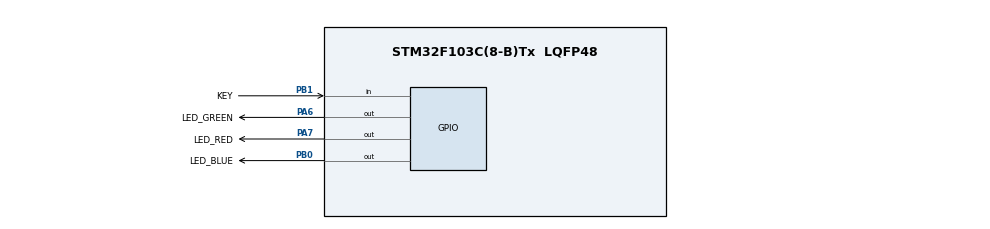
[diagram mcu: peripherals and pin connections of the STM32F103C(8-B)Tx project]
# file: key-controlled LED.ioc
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Mcu.Family=STM32F1
Mcu.Name=STM32F103C(8-B)Tx
Mcu.Package=LQFP48
NVIC.PriorityGroup=NVIC_PRIORITYGROUP_4
PA13.Mode=Serial_Wire
PA13.Signal=SYS_JTMS-SWDIO
PA14.Mode=Serial_Wire
PA14.Signal=SYS_JTCK-SWCLK
PA6.GPIO_Label=LED_GREEN
PA6.Signal=GPIO_Output
PA7.GPIO_Label=LED_RED
PA7.Signal=GPIO_Output
PB0.GPIO_Label=LED_BLUE
PB0.Signal=GPIO_Output
PB1.GPIO_Label=KEY
PB1.GPIO_PuPd=GPIO_PULLUP
PB1.Signal=GPIO_Input
ProjectManager.HeapSize=0x200
ProjectManager.StackSize=0x400
ProjectManager.TargetToolchain=MDK-ARM V5.32
RCC.APB1Freq_Value=8000000
RCC.APB2Freq_Value=8000000
board=custom

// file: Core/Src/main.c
/* USER CODE BEGIN Header */
/**
  ******************************************************************************
  * @file           : main.c
  * @brief          : Main program body
  ******************************************************************************
  * @attention
  *
  * Copyright (c) 2026 STMicroelectronics.
  * All rights reserved.
  *
  * This software is licensed under terms that can be found in the LICENSE file
  * in the root directory of this software component.
  * If no LICENSE file comes with this software, it is provided AS-IS.
  *
  ******************************************************************************
  */
/* USER CODE END Header */
#include "main.h"

/* USER CODE BEGIN PD */
#define KEY_DEBOUNCE_MS   20U
#define LONG_PRESS_MS     1000U
#define CYCLE_STEP_MS     800U
/* USER CODE END PD */

/* USER CODE BEGIN PV */
static GPIO_TypeDef* LED_Port[3] = { LED_GREEN_GPIO_Port, LED_RED_GPIO_Port, LED_BLUE_GPIO_Port };
static const uint16_t LED_Pin[3] = { LED_GREEN_Pin,LED_RED_Pin,LED_BLUE_Pin};
static uint8_t led_on[3] = {0, 0, 0};
static uint8_t selected  = 0;
/* USER CODE END PV */

void SystemClock_Config(void);
static void MX_GPIO_Init(void);

/* USER CODE BEGIN 0 */
static void LED_Update(uint8_t idx)
{
  HAL_GPIO_WritePin(LED_Port[idx], LED_Pin[idx], led_on[idx] ? GPIO_PIN_SET : GPIO_PIN_RESET);
}

static void LED_Blink(uint8_t idx, uint8_t times)
{
  uint8_t i;
  for (i = 0; i < times; i++)
  {
    HAL_GPIO_WritePin(LED_Port[idx], LED_Pin[idx], GPIO_PIN_SET);
    HAL_Delay(120);
    HAL_GPIO_WritePin(LED_Port[idx], LED_Pin[idx], GPIO_PIN_RESET);
    HAL_Delay(120);
  }
  LED_Update(idx);
}

static void LED_SelectNext(void)
{
  led_on[selected] = 0;              /* 熄灭原先点亮的灯 */
  LED_Update(selected);
  selected = (selected + 1) % 3;
  led_on[selected] = 1;              /* 点亮新选中的灯 */
  LED_Update(selected);
}

static uint8_t KEY_Pressed(void)
{
  if (HAL_GPIO_ReadPin(KEY_GPIO_Port, KEY_Pin) == GPIO_PIN_RESET)
  {
    HAL_Delay(KEY_DEBOUNCE_MS);
    if (HAL_GPIO_ReadPin(KEY_GPIO_Port, KEY_Pin) == GPIO_PIN_RESET)
    {
      return 1;
    }
  }
  return 0;
}
/* USER CODE END 0 */

int main(void)
{

  /* MCU Configuration--------------------------------------------------------*/

  /* Reset of all peripherals, Initializes the Flash interface and the Systick. */
  HAL_Init();

  /* Configure the system clock */
  SystemClock_Config();

  /* Initialize all configured peripherals */
  MX_GPIO_Init();
  /* USER CODE BEGIN 2 */
  LED_Blink(selected, 2);
  /* USER CODE END 2 */

  /* Infinite loop */
  /* USER CODE BEGIN WHILE */
  while (1)
  {
    if (KEY_Pressed())
    {
      uint32_t press_start = HAL_GetTick();
      uint32_t last_step   = 0;
      uint8_t  is_long     = 0;
      while (HAL_GPIO_ReadPin(KEY_GPIO_Port, KEY_Pin) == GPIO_PIN_RESET)
      {
        if (!is_long && (HAL_GetTick() - press_start >= LONG_PRESS_MS))
        {
          is_long   = 1;
          last_step = HAL_GetTick();
          LED_SelectNext();
        }
        else if (is_long && (HAL_GetTick() - last_step >= CYCLE_STEP_MS))
        {
          last_step = HAL_GetTick();
          LED_SelectNext();
        }
        HAL_Delay(10);
      }

      if (is_long)
      {
        led_on[selected] = 1;    /* 松手后停在当前灯，保持亮着 */
        LED_Update(selected);
      }
      else
      {
        led_on[selected] = !led_on[selected];
        LED_Update(selected);
      }
    }
    HAL_Delay(10);
    /* USER CODE END WHILE */

  }
}

void SystemClock_Config(void)
{
  RCC_OscInitTypeDef RCC_OscInitStruct = {0};
  RCC_ClkInitTypeDef RCC_ClkInitStruct = {0};

  /** Initializes the RCC Oscillators according to the specified parameters
  * in the RCC_OscInitTypeDef structure.
  */
  RCC_OscInitStruct.OscillatorType = RCC_OSCILLATORTYPE_HSI;
  RCC_OscInitStruct.HSIState = RCC_HSI_ON;
  RCC_OscInitStruct.HSICalibrationValue = RCC_HSICALIBRATION_DEFAULT;
  RCC_OscInitStruct.PLL.PLLState = RCC_PLL_NONE;
  if (HAL_RCC_OscConfig(&RCC_OscInitStruct) != HAL_OK)
  {
    Error_Handler();
  }

  /** Initializes the CPU, AHB and APB buses clocks
  */
  RCC_ClkInitStruct.ClockType = RCC_CLOCKTYPE_HCLK|RCC_CLOCKTYPE_SYSCLK
                              |RCC_CLOCKTYPE_PCLK1|RCC_CLOCKTYPE_PCLK2;
  RCC_ClkInitStruct.SYSCLKSource = RCC_SYSCLKSOURCE_HSI;
  RCC_ClkInitStruct.AHBCLKDivider = RCC_SYSCLK_DIV1;
  RCC_ClkInitStruct.APB1CLKDivider = RCC_HCLK_DIV1;
  RCC_ClkInitStruct.APB2CLKDivider = RCC_HCLK_DIV1;

  if (HAL_RCC_ClockConfig(&RCC_ClkInitStruct, FLASH_LATENCY_0) != HAL_OK)
  {
    Error_Handler();
  }
}

static void MX_GPIO_Init(void)
{
  GPIO_InitTypeDef GPIO_InitStruct = {0};

  /* GPIO Ports Clock Enable */
  __HAL_RCC_GPIOA_CLK_ENABLE();
  __HAL_RCC_GPIOB_CLK_ENABLE();

  /*Configure GPIO pin Output Level */
  HAL_GPIO_WritePin(GPIOA, LED_GREEN_Pin|LED_RED_Pin, GPIO_PIN_RESET);

  /*Configure GPIO pin Output Level */
  HAL_GPIO_WritePin(LED_BLUE_GPIO_Port, LED_BLUE_Pin, GPIO_PIN_RESET);

  /*Configure GPIO pins : LED_GREEN_Pin LED_RED_Pin */
  GPIO_InitStruct.Pin = LED_GREEN_Pin|LED_RED_Pin;
  GPIO_InitStruct.Mode = GPIO_MODE_OUTPUT_PP;
  GPIO_InitStruct.Pull = GPIO_NOPULL;
  GPIO_InitStruct.Speed = GPIO_SPEED_FREQ_LOW;
  HAL_GPIO_Init(GPIOA, &GPIO_InitStruct);

  /*Configure GPIO pin : LED_BLUE_Pin */
  GPIO_InitStruct.Pin = LED_BLUE_Pin;
  GPIO_InitStruct.Mode = GPIO_MODE_OUTPUT_PP;
  GPIO_InitStruct.Pull = GPIO_NOPULL;
  GPIO_InitStruct.Speed = GPIO_SPEED_FREQ_LOW;
  HAL_GPIO_Init(LED_BLUE_GPIO_Port, &GPIO_InitStruct);

  /*Configure GPIO pin : KEY_Pin */
  GPIO_InitStruct.Pin = KEY_Pin;
  GPIO_InitStruct.Mode = GPIO_MODE_INPUT;
  GPIO_InitStruct.Pull = GPIO_PULLUP;
  HAL_GPIO_Init(KEY_GPIO_Port, &GPIO_InitStruct);

}

void Error_Handler(void)
{
  __disable_irq();
  while (1)
  {
  }
}
